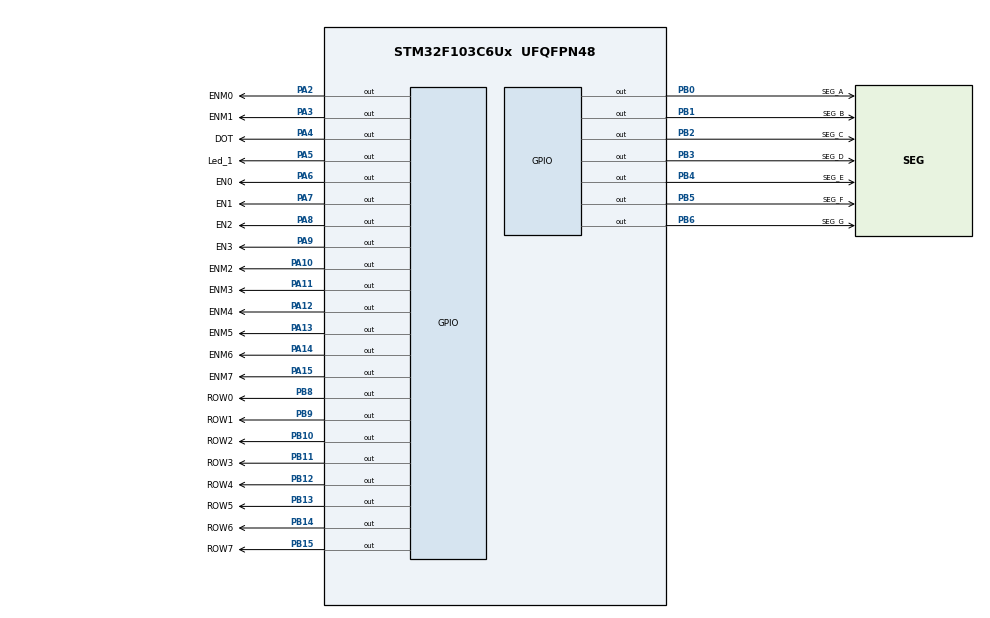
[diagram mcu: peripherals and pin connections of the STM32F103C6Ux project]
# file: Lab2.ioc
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Mcu.Family=STM32F1
Mcu.Name=STM32F103C6Ux
Mcu.Package=UFQFPN48
NVIC.PriorityGroup=NVIC_PRIORITYGROUP_4
NVIC.TIM2_IRQn=true\:0\:0\:false\:false\:true\:true\:true
PA10.GPIO_Label=ENM2
PA10.Signal=GPIO_Output
PA11.GPIO_Label=ENM3
PA11.Signal=GPIO_Output
PA12.GPIO_Label=ENM4
PA12.Signal=GPIO_Output
PA13.GPIO_Label=ENM5
PA13.Signal=GPIO_Output
PA14.GPIO_Label=ENM6
PA14.Signal=GPIO_Output
PA15.GPIO_Label=ENM7
PA15.Signal=GPIO_Output
PA2.GPIO_Label=ENM0
PA2.Signal=GPIO_Output
PA3.GPIO_Label=ENM1
PA3.Signal=GPIO_Output
PA4.GPIO_Label=DOT
PA4.Signal=GPIO_Output
PA5.GPIO_Label=Led_1
PA5.Signal=GPIO_Output
PA6.GPIO_Label=EN0
PA6.Signal=GPIO_Output
PA7.GPIO_Label=EN1
PA7.Signal=GPIO_Output
PA8.GPIO_Label=EN2
PA8.Signal=GPIO_Output
PA9.GPIO_Label=EN3
PA9.Signal=GPIO_Output
PB0.GPIO_Label=SEG_A
PB0.Signal=GPIO_Output
PB1.GPIO_Label=SEG_B
PB1.Signal=GPIO_Output
PB10.GPIO_Label=ROW2
PB10.Signal=GPIO_Output
PB11.GPIO_Label=ROW3
PB11.Signal=GPIO_Output
PB12.GPIO_Label=ROW4
PB12.Signal=GPIO_Output
PB13.GPIO_Label=ROW5
PB13.Signal=GPIO_Output
PB14.GPIO_Label=ROW6
PB14.Signal=GPIO_Output
PB15.GPIO_Label=ROW7
PB15.Signal=GPIO_Output
PB2.GPIO_Label=SEG_C
PB2.Signal=GPIO_Output
PB3.GPIO_Label=SEG_D
PB3.Signal=GPIO_Output
PB4.GPIO_Label=SEG_E
PB4.Signal=GPIO_Output
PB5.GPIO_Label=SEG_F
PB5.Signal=GPIO_Output
PB6.GPIO_Label=SEG_G
PB6.Signal=GPIO_Output
PB8.GPIO_Label=ROW0
PB8.Signal=GPIO_Output
PB9.GPIO_Label=ROW1
PB9.Signal=GPIO_Output
ProjectManager.HeapSize=0x200
ProjectManager.StackSize=0x400
ProjectManager.TargetToolchain=STM32CubeIDE
RCC.APB1Freq_Value=8000000
RCC.APB2Freq_Value=8000000
TIM2.Period=9
TIM2.Prescaler=7999
VP_SYS_VS_ND.Mode=No_Debug
VP_TIM2_VS_ClockSourceINT.Mode=Internal
board=custom

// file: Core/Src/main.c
/* USER CODE BEGIN Header */
/**
  ******************************************************************************
  * @file           : main.c
  * @brief          : Main program body
  ******************************************************************************
  * @attention
  *
  * <h2><center>&copy; Copyright (c) 2023 STMicroelectronics.
  * All rights reserved.</center></h2>
  *
  * This software component is licensed by ST under BSD 3-Clause license,
  * the "License"; You may not use this file except in compliance with the
  * License. You may obtain a copy of the License at:
  *                        opensource.org/licenses/BSD-3-Clause
  *
  ******************************************************************************
  */
/* USER CODE END Header */
#include "main.h"

/* USER CODE BEGIN Includes */
#include "software_timer.h"
/* USER CODE END Includes */

TIM_HandleTypeDef htim2;

void SystemClock_Config(void);
static void MX_GPIO_Init(void);
static void MX_TIM2_Init(void);

/* USER CODE BEGIN 0 */
void display7SEG (int counter){
	switch (counter){
		case 0:
			HAL_GPIO_WritePin ( GPIOB, GPIO_PIN_0 | GPIO_PIN_1 | GPIO_PIN_2 |
									   GPIO_PIN_3 | GPIO_PIN_4 | GPIO_PIN_5, GPIO_PIN_RESET );
			HAL_GPIO_WritePin ( GPIOB, GPIO_PIN_6, GPIO_PIN_SET);
			break;

		case 1:
			HAL_GPIO_WritePin ( GPIOB, GPIO_PIN_1 | GPIO_PIN_2, GPIO_PIN_RESET );
			HAL_GPIO_WritePin ( GPIOB, GPIO_PIN_0 | GPIO_PIN_3 | GPIO_PIN_4 |
										GPIO_PIN_5 | GPIO_PIN_6, GPIO_PIN_SET);
			break;

		case 2:
			HAL_GPIO_WritePin ( GPIOB , GPIO_PIN_0 | GPIO_PIN_1 | GPIO_PIN_3 |
										GPIO_PIN_4 | GPIO_PIN_6, GPIO_PIN_RESET );
			HAL_GPIO_WritePin ( GPIOB, GPIO_PIN_2 | GPIO_PIN_5, GPIO_PIN_SET);
			break;

		case 3:
			HAL_GPIO_WritePin ( GPIOB , GPIO_PIN_0 | GPIO_PIN_1 | GPIO_PIN_2 |
										GPIO_PIN_3 | GPIO_PIN_6, GPIO_PIN_RESET );
			HAL_GPIO_WritePin ( GPIOB, GPIO_PIN_4 | GPIO_PIN_5, GPIO_PIN_SET);
			break;

		case 4:
			HAL_GPIO_WritePin ( GPIOB , GPIO_PIN_1 | GPIO_PIN_2 | GPIO_PIN_5 |
										GPIO_PIN_6, GPIO_PIN_RESET );
			HAL_GPIO_WritePin ( GPIOB, GPIO_PIN_0 | GPIO_PIN_3 | GPIO_PIN_4, GPIO_PIN_SET);
			break;

		case 5:
			HAL_GPIO_WritePin ( GPIOB , GPIO_PIN_0 | GPIO_PIN_2 | GPIO_PIN_3 |
										GPIO_PIN_5 | GPIO_PIN_6, GPIO_PIN_RESET );
			HAL_GPIO_WritePin ( GPIOB, GPIO_PIN_1 | GPIO_PIN_4, GPIO_PIN_SET);
			break;

		case 6:
			HAL_GPIO_WritePin ( GPIOB , GPIO_PIN_0 | GPIO_PIN_2 | GPIO_PIN_3 |
										GPIO_PIN_4 | GPIO_PIN_5 | GPIO_PIN_6, GPIO_PIN_RESET );
			HAL_GPIO_WritePin ( GPIOB, GPIO_PIN_1, GPIO_PIN_SET);
			break;

		case 7:
			HAL_GPIO_WritePin ( GPIOB, GPIO_PIN_0 | GPIO_PIN_1 | GPIO_PIN_2, GPIO_PIN_RESET );
			HAL_GPIO_WritePin ( GPIOB, GPIO_PIN_3 | GPIO_PIN_4 | GPIO_PIN_5 |
									   GPIO_PIN_6, GPIO_PIN_SET);
			break;

		case 8:
			HAL_GPIO_WritePin ( GPIOB, GPIO_PIN_0 | GPIO_PIN_1 | GPIO_PIN_2 | GPIO_PIN_3 |
									   GPIO_PIN_4 | GPIO_PIN_5 | GPIO_PIN_6, GPIO_PIN_RESET );
			break;

		case 9:
			HAL_GPIO_WritePin ( GPIOB, GPIO_PIN_0 | GPIO_PIN_1 | GPIO_PIN_2 |
									   GPIO_PIN_3 | GPIO_PIN_5 | GPIO_PIN_6, GPIO_PIN_RESET );
			HAL_GPIO_WritePin ( GPIOB, GPIO_PIN_4, GPIO_PIN_SET);
			break;

		default:
			break;
	}
}

const int MAX_LED = 4;
int led_buffer[4] = {0 , 0 , 0 , 0};
int hour = 8 , minute = 8 , second = 50;
void update7SEG(int index){
	switch(index){
	case 0:
	// Display the first 7 SEG with led_buffer [0]
		HAL_GPIO_WritePin(GPIOA, GPIO_PIN_6, RESET);
		HAL_GPIO_WritePin(GPIOA, GPIO_PIN_7, SET);
		HAL_GPIO_WritePin(GPIOA, GPIO_PIN_8, SET);
		HAL_GPIO_WritePin(GPIOA, GPIO_PIN_9, SET);

		led_buffer[0] = (int) hour / 10;
		display7SEG(led_buffer[0]);
		break;

	case 1:
	// Display the second 7 SEG with led_buffer [1]
		HAL_GPIO_WritePin(GPIOA, GPIO_PIN_6, SET);
		HAL_GPIO_WritePin(GPIOA, GPIO_PIN_7, RESET);
		HAL_GPIO_WritePin(GPIOA, GPIO_PIN_8, SET);
		HAL_GPIO_WritePin(GPIOA, GPIO_PIN_9, SET);

		led_buffer[1] = hour % 10;
		display7SEG(led_buffer[1]);
		break;

	case 2:
	// Display the third 7 SEG with led_buffer [2]
		HAL_GPIO_WritePin(GPIOA, GPIO_PIN_6, SET);
		HAL_GPIO_WritePin(GPIOA, GPIO_PIN_7, SET);
		HAL_GPIO_WritePin(GPIOA, GPIO_PIN_8, RESET);
		HAL_GPIO_WritePin(GPIOA, GPIO_PIN_9, SET);

		led_buffer[2] = (int) minute / 10;
		display7SEG(led_buffer[2]);
		break;

	case 3:
	// Display the forth 7 SEG with led_buffer [3]
		HAL_GPIO_WritePin(GPIOA, GPIO_PIN_6, SET);
		HAL_GPIO_WritePin(GPIOA, GPIO_PIN_7, SET);
		HAL_GPIO_WritePin(GPIOA, GPIO_PIN_8, SET);
		HAL_GPIO_WritePin(GPIOA, GPIO_PIN_9, RESET);

		led_buffer[3] = minute % 10;
		display7SEG(led_buffer[3]);
		break;

	default:
		break;
	}
}

int count_frame = 0;
const int MAX_FRAME = 14;
//int count_row =0;
int count_col =0;

const int MAX_LED_MATRIX = 8;
int index_led_matrix = 0;
uint8_t matrix_buffer [8] = {0b00000000, 0b11111100, 0b00010010, 0b00010001, 0b00010001, 0b00010010, 0b11111100, 0b00000000 };
void displayLEDMtrix(uint8_t value)
{
	if (value & (1U << 0))
		HAL_GPIO_WritePin(ROW0_GPIO_Port, ROW0_Pin, GPIO_PIN_RESET);
	else
		HAL_GPIO_WritePin(ROW0_GPIO_Port, ROW0_Pin, GPIO_PIN_SET);

	if (value & (1U << 1))
		HAL_GPIO_WritePin(ROW1_GPIO_Port, ROW1_Pin, GPIO_PIN_RESET);
	else
		HAL_GPIO_WritePin(ROW1_GPIO_Port, ROW1_Pin, GPIO_PIN_SET);

	if (value & (1U << 2))
		HAL_GPIO_WritePin(ROW2_GPIO_Port, ROW2_Pin, GPIO_PIN_RESET);
	else
		HAL_GPIO_WritePin(ROW2_GPIO_Port, ROW2_Pin, GPIO_PIN_SET);

	if (value & (1U << 3))
		HAL_GPIO_WritePin(ROW3_GPIO_Port, ROW3_Pin, GPIO_PIN_RESET);
	else
		HAL_GPIO_WritePin(ROW3_GPIO_Port, ROW3_Pin, GPIO_PIN_SET);

	if (value & (1U << 4))
		HAL_GPIO_WritePin(ROW4_GPIO_Port, ROW4_Pin, GPIO_PIN_RESET);
	else
		HAL_GPIO_WritePin(ROW4_GPIO_Port, ROW4_Pin, GPIO_PIN_SET);

	if (value & (1U << 5))
		HAL_GPIO_WritePin(ROW5_GPIO_Port, ROW5_Pin, GPIO_PIN_RESET);
	else
		HAL_GPIO_WritePin(ROW5_GPIO_Port, ROW5_Pin, GPIO_PIN_SET);

	if (value & (1U << 6))
		HAL_GPIO_WritePin(ROW6_GPIO_Port, ROW6_Pin, GPIO_PIN_RESET);
	else
		HAL_GPIO_WritePin(ROW6_GPIO_Port, ROW6_Pin, GPIO_PIN_SET);

	if (value & (1U << 7))
		HAL_GPIO_WritePin(ROW7_GPIO_Port, ROW7_Pin, GPIO_PIN_RESET);
	else
		HAL_GPIO_WritePin(ROW7_GPIO_Port, ROW7_Pin, GPIO_PIN_SET);
}

void updateLEDMatrix(int index)
{
	switch (index)
	{
		case 0:
			HAL_GPIO_WritePin(ENM7_GPIO_Port, ENM7_Pin, GPIO_PIN_SET);
			HAL_GPIO_WritePin(ENM6_GPIO_Port, ENM6_Pin, GPIO_PIN_SET);
			HAL_GPIO_WritePin(ENM5_GPIO_Port, ENM5_Pin, GPIO_PIN_SET);
			HAL_GPIO_WritePin(ENM4_GPIO_Port, ENM4_Pin, GPIO_PIN_SET);
			HAL_GPIO_WritePin(ENM3_GPIO_Port, ENM3_Pin, GPIO_PIN_SET);
			HAL_GPIO_WritePin(ENM2_GPIO_Port, ENM2_Pin, GPIO_PIN_SET);
			HAL_GPIO_WritePin(ENM1_GPIO_Port, ENM1_Pin, GPIO_PIN_SET);
			HAL_GPIO_WritePin(ENM0_GPIO_Port, ENM0_Pin, GPIO_PIN_RESET);
			displayLEDMtrix(matrix_buffer[index]);
			break;
		case 1:
			HAL_GPIO_WritePin(ENM0_GPIO_Port, ENM0_Pin, GPIO_PIN_SET);
			HAL_GPIO_WritePin(ENM7_GPIO_Port, ENM7_Pin, GPIO_PIN_SET);
			HAL_GPIO_WritePin(ENM6_GPIO_Port, ENM6_Pin, GPIO_PIN_SET);
			HAL_GPIO_WritePin(ENM5_GPIO_Port, ENM5_Pin, GPIO_PIN_SET);
			HAL_GPIO_WritePin(ENM4_GPIO_Port, ENM4_Pin, GPIO_PIN_SET);
			HAL_GPIO_WritePin(ENM3_GPIO_Port, ENM3_Pin, GPIO_PIN_SET);
			HAL_GPIO_WritePin(ENM2_GPIO_Port, ENM2_Pin, GPIO_PIN_SET);
			HAL_GPIO_WritePin(ENM1_GPIO_Port, ENM1_Pin, GPIO_PIN_RESET);
			displayLEDMtrix(matrix_buffer[index]);
			break;
		case 2:
			HAL_GPIO_WritePin(ENM1_GPIO_Port, ENM1_Pin, GPIO_PIN_SET);
			HAL_GPIO_WritePin(ENM0_GPIO_Port, ENM0_Pin, GPIO_PIN_SET);
			HAL_GPIO_WritePin(ENM7_GPIO_Port, ENM7_Pin, GPIO_PIN_SET);
			HAL_GPIO_WritePin(ENM6_GPIO_Port, ENM6_Pin, GPIO_PIN_SET);
			HAL_GPIO_WritePin(ENM5_GPIO_Port, ENM5_Pin, GPIO_PIN_SET);
			HAL_GPIO_WritePin(ENM4_GPIO_Port, ENM4_Pin, GPIO_PIN_SET);
			HAL_GPIO_WritePin(ENM3_GPIO_Port, ENM3_Pin, GPIO_PIN_SET);
			HAL_GPIO_WritePin(ENM2_GPIO_Port, ENM2_Pin, GPIO_PIN_RESET);
			displayLEDMtrix(matrix_buffer[index]);
			break;
		case 3:
			HAL_GPIO_WritePin(ENM2_GPIO_Port, ENM2_Pin, GPIO_PIN_SET);
			HAL_GPIO_WritePin(ENM1_GPIO_Port, ENM1_Pin, GPIO_PIN_SET);
			HAL_GPIO_WritePin(ENM0_GPIO_Port, ENM0_Pin, GPIO_PIN_SET);
			HAL_GPIO_WritePin(ENM7_GPIO_Port, ENM7_Pin, GPIO_PIN_SET);
			HAL_GPIO_WritePin(ENM6_GPIO_Port, ENM6_Pin, GPIO_PIN_SET);
			HAL_GPIO_WritePin(ENM5_GPIO_Port, ENM5_Pin, GPIO_PIN_SET);
			HAL_GPIO_WritePin(ENM4_GPIO_Port, ENM4_Pin, GPIO_PIN_SET);
			HAL_GPIO_WritePin(ENM3_GPIO_Port, ENM3_Pin, GPIO_PIN_RESET);
			displayLEDMtrix(matrix_buffer[index]);
			break;
		case 4:
			HAL_GPIO_WritePin(ENM3_GPIO_Port, ENM3_Pin, GPIO_PIN_SET);
			HAL_GPIO_WritePin(ENM2_GPIO_Port, ENM2_Pin, GPIO_PIN_SET);
			HAL_GPIO_WritePin(ENM1_GPIO_Port, ENM1_Pin, GPIO_PIN_SET);
			HAL_GPIO_WritePin(ENM0_GPIO_Port, ENM0_Pin, GPIO_PIN_SET);
			HAL_GPIO_WritePin(ENM7_GPIO_Port, ENM7_Pin, GPIO_PIN_SET);
			HAL_GPIO_WritePin(ENM6_GPIO_Port, ENM6_Pin, GPIO_PIN_SET);
			HAL_GPIO_WritePin(ENM5_GPIO_Port, ENM5_Pin, GPIO_PIN_SET);
			HAL_GPIO_WritePin(ENM4_GPIO_Port, ENM4_Pin, GPIO_PIN_RESET);
			displayLEDMtrix(matrix_buffer[index]);
			break;
		case 5:
			HAL_GPIO_WritePin(ENM4_GPIO_Port, ENM4_Pin, GPIO_PIN_SET);
			HAL_GPIO_WritePin(ENM3_GPIO_Port, ENM3_Pin, GPIO_PIN_SET);
			HAL_GPIO_WritePin(ENM2_GPIO_Port, ENM2_Pin, GPIO_PIN_SET);
			HAL_GPIO_WritePin(ENM1_GPIO_Port, ENM1_Pin, GPIO_PIN_SET);
			HAL_GPIO_WritePin(ENM0_GPIO_Port, ENM0_Pin, GPIO_PIN_SET);
			HAL_GPIO_WritePin(ENM7_GPIO_Port, ENM7_Pin, GPIO_PIN_SET);
			HAL_GPIO_WritePin(ENM6_GPIO_Port, ENM6_Pin, GPIO_PIN_SET);
			HAL_GPIO_WritePin(ENM5_GPIO_Port, ENM5_Pin, GPIO_PIN_RESET);
			displayLEDMtrix(matrix_buffer[index]);
			break;
		case 6:
			HAL_GPIO_WritePin(ENM5_GPIO_Port, ENM5_Pin, GPIO_PIN_SET);
			HAL_GPIO_WritePin(ENM4_GPIO_Port, ENM4_Pin, GPIO_PIN_SET);
			HAL_GPIO_WritePin(ENM3_GPIO_Port, ENM3_Pin, GPIO_PIN_SET);
			HAL_GPIO_WritePin(ENM2_GPIO_Port, ENM2_Pin, GPIO_PIN_SET);
			HAL_GPIO_WritePin(ENM1_GPIO_Port, ENM1_Pin, GPIO_PIN_SET);
			HAL_GPIO_WritePin(ENM0_GPIO_Port, ENM0_Pin, GPIO_PIN_SET);
			HAL_GPIO_WritePin(ENM7_GPIO_Port, ENM7_Pin, GPIO_PIN_SET);
			HAL_GPIO_WritePin(ENM6_GPIO_Port, ENM6_Pin, GPIO_PIN_RESET);
			displayLEDMtrix(matrix_buffer[index]);
			break;
		case 7:
			HAL_GPIO_WritePin(ENM6_GPIO_Port, ENM6_Pin, GPIO_PIN_SET);
			HAL_GPIO_WritePin(ENM5_GPIO_Port, ENM5_Pin, GPIO_PIN_SET);
			HAL_GPIO_WritePin(ENM4_GPIO_Port, ENM4_Pin, GPIO_PIN_SET);
			HAL_GPIO_WritePin(ENM3_GPIO_Port, ENM3_Pin, GPIO_PIN_SET);
			HAL_GPIO_WritePin(ENM2_GPIO_Port, ENM2_Pin, GPIO_PIN_SET);
			HAL_GPIO_WritePin(ENM1_GPIO_Port, ENM1_Pin, GPIO_PIN_SET);
			HAL_GPIO_WritePin(ENM0_GPIO_Port, ENM0_Pin, GPIO_PIN_SET);
			HAL_GPIO_WritePin(ENM7_GPIO_Port, ENM7_Pin, GPIO_PIN_RESET);
			displayLEDMtrix(matrix_buffer[index]);
			break;
		default:
			break;
	}
}

/* USER CODE END 0 */

int main(void)
{

  /* MCU Configuration--------------------------------------------------------*/

  /* Reset of all peripherals, Initializes the Flash interface and the Systick. */
  HAL_Init();

  /* Configure the system clock */
  SystemClock_Config();

  /* Initialize all configured peripherals */
  MX_GPIO_Init();
  MX_TIM2_Init();
  /* USER CODE BEGIN 2 */
  HAL_TIM_Base_Start_IT(&htim2);
  /* USER CODE END 2 */

  /* Infinite loop */
  /* USER CODE BEGIN WHILE */
  int index_led = 0;
  setTimer1(50);
  setTimer2(200);
  setTimer3(100);
  setTimer4(50);
  setTimer_m(100);

  while(1){
	  if (timer1_flag == 1){
		  setTimer1(25);
		  // TO DO
		  second ++;
		  if (second >= 60){
			 second = 0;
			 minute ++;
		  }
		  if (minute >= 60){
			  minute = 0;
			  hour ++;
		  }
		  if (hour >=24){
			  hour = 0;
		  }
	  }

	  // Clock visualization
	  if (timer2_flag == 1){
		  setTimer2(200);
		  // TO DO
		  HAL_GPIO_TogglePin(GPIOA, GPIO_PIN_5);
	  }

	  if (timer3_flag == 1){
		  setTimer3(100);
		  // TO DO
		  HAL_GPIO_TogglePin(GPIOA, GPIO_PIN_4);
	  }

	  if (timer4_flag == 1){
		  setTimer4(50);
		  // TO DO
		  update7SEG(index_led);
		  if (index_led <= 3){
			  index_led ++;
			  if (index_led > 3){
				  index_led = 0;
			  }
		  }
	  }

	  if(timer_m_flag == 1){
		  index_led_matrix ++;
		  count_col ++;
		  if(index_led_matrix >= MAX_LED_MATRIX){
			  index_led_matrix = 0;
		  }

		  if(count_col >= MAX_LED_MATRIX){
			  count_col = 0;
			  count_frame++;
		  }

		  if(count_frame >= MAX_FRAME)
			  count_frame =0;
		  //update_frame();
		  updateLEDMatrix(index_led_matrix);
		  setTimer_m(5);
	  }
  }

	  /* USER CODE END 3 */
}
  /* USER CODE END 3 */

void SystemClock_Config(void)
{
  RCC_OscInitTypeDef RCC_OscInitStruct = {0};
  RCC_ClkInitTypeDef RCC_ClkInitStruct = {0};

  /** Initializes the RCC Oscillators according to the specified parameters
  * in the RCC_OscInitTypeDef structure.
  */
  RCC_OscInitStruct.OscillatorType = RCC_OSCILLATORTYPE_HSI;
  RCC_OscInitStruct.HSIState = RCC_HSI_ON;
  RCC_OscInitStruct.HSICalibrationValue = RCC_HSICALIBRATION_DEFAULT;
  RCC_OscInitStruct.PLL.PLLState = RCC_PLL_NONE;
  if (HAL_RCC_OscConfig(&RCC_OscInitStruct) != HAL_OK)
  {
    Error_Handler();
  }
  /** Initializes the CPU, AHB and APB buses clocks
  */
  RCC_ClkInitStruct.ClockType = RCC_CLOCKTYPE_HCLK|RCC_CLOCKTYPE_SYSCLK
                              |RCC_CLOCKTYPE_PCLK1|RCC_CLOCKTYPE_PCLK2;
  RCC_ClkInitStruct.SYSCLKSource = RCC_SYSCLKSOURCE_HSI;
  RCC_ClkInitStruct.AHBCLKDivider = RCC_SYSCLK_DIV1;
  RCC_ClkInitStruct.APB1CLKDivider = RCC_HCLK_DIV1;
  RCC_ClkInitStruct.APB2CLKDivider = RCC_HCLK_DIV1;

  if (HAL_RCC_ClockConfig(&RCC_ClkInitStruct, FLASH_LATENCY_0) != HAL_OK)
  {
    Error_Handler();
  }
}

static void MX_TIM2_Init(void)
{

  TIM_ClockConfigTypeDef sClockSourceConfig = {0};
  TIM_MasterConfigTypeDef sMasterConfig = {0};

  htim2.Instance = TIM2;
  htim2.Init.Prescaler = 7999;
  htim2.Init.CounterMode = TIM_COUNTERMODE_UP;
  htim2.Init.Period = 9;
  htim2.Init.ClockDivision = TIM_CLOCKDIVISION_DIV1;
  htim2.Init.AutoReloadPreload = TIM_AUTORELOAD_PRELOAD_DISABLE;
  if (HAL_TIM_Base_Init(&htim2) != HAL_OK)
  {
    Error_Handler();
  }
  sClockSourceConfig.ClockSource = TIM_CLOCKSOURCE_INTERNAL;
  if (HAL_TIM_ConfigClockSource(&htim2, &sClockSourceConfig) != HAL_OK)
  {
    Error_Handler();
  }
  sMasterConfig.MasterOutputTrigger = TIM_TRGO_RESET;
  sMasterConfig.MasterSlaveMode = TIM_MASTERSLAVEMODE_DISABLE;
  if (HAL_TIMEx_MasterConfigSynchronization(&htim2, &sMasterConfig) != HAL_OK)
  {
    Error_Handler();
  }

}

static void MX_GPIO_Init(void)
{
  GPIO_InitTypeDef GPIO_InitStruct = {0};

  /* GPIO Ports Clock Enable */
  __HAL_RCC_GPIOA_CLK_ENABLE();
  __HAL_RCC_GPIOB_CLK_ENABLE();

  /*Configure GPIO pin Output Level */
  HAL_GPIO_WritePin(GPIOA, ENM0_Pin|ENM1_Pin|DOT_Pin|Led_1_Pin
                          |EN0_Pin|EN1_Pin|EN2_Pin|EN3_Pin
                          |ENM2_Pin|ENM3_Pin|ENM4_Pin|ENM5_Pin
                          |ENM6_Pin|ENM7_Pin, GPIO_PIN_RESET);

  /*Configure GPIO pin Output Level */
  HAL_GPIO_WritePin(GPIOB, SEG_A_Pin|SEG_B_Pin|SEG_C_Pin|ROW2_Pin
                          |ROW3_Pin|ROW4_Pin|ROW5_Pin|ROW6_Pin
                          |ROW7_Pin|SEG_D_Pin|SEG_E_Pin|SEG_F_Pin
                          |SEG_G_Pin|ROW0_Pin|ROW1_Pin, GPIO_PIN_RESET);

  /*Configure GPIO pins : ENM0_Pin ENM1_Pin DOT_Pin Led_1_Pin
                           EN0_Pin EN1_Pin EN2_Pin EN3_Pin
                           ENM2_Pin ENM3_Pin ENM4_Pin ENM5_Pin
                           ENM6_Pin ENM7_Pin */
  GPIO_InitStruct.Pin = ENM0_Pin|ENM1_Pin|DOT_Pin|Led_1_Pin
                          |EN0_Pin|EN1_Pin|EN2_Pin|EN3_Pin
                          |ENM2_Pin|ENM3_Pin|ENM4_Pin|ENM5_Pin
                          |ENM6_Pin|ENM7_Pin;
  GPIO_InitStruct.Mode = GPIO_MODE_OUTPUT_PP;
  GPIO_InitStruct.Pull = GPIO_NOPULL;
  GPIO_InitStruct.Speed = GPIO_SPEED_FREQ_LOW;
  HAL_GPIO_Init(GPIOA, &GPIO_InitStruct);

  /*Configure GPIO pins : SEG_A_Pin SEG_B_Pin SEG_C_Pin ROW2_Pin
                           ROW3_Pin ROW4_Pin ROW5_Pin ROW6_Pin
                           ROW7_Pin SEG_D_Pin SEG_E_Pin SEG_F_Pin
                           SEG_G_Pin ROW0_Pin ROW1_Pin */
  GPIO_InitStruct.Pin = SEG_A_Pin|SEG_B_Pin|SEG_C_Pin|ROW2_Pin
                          |ROW3_Pin|ROW4_Pin|ROW5_Pin|ROW6_Pin
                          |ROW7_Pin|SEG_D_Pin|SEG_E_Pin|SEG_F_Pin
                          |SEG_G_Pin|ROW0_Pin|ROW1_Pin;
  GPIO_InitStruct.Mode = GPIO_MODE_OUTPUT_PP;
  GPIO_InitStruct.Pull = GPIO_NOPULL;
  GPIO_InitStruct.Speed = GPIO_SPEED_FREQ_LOW;
  HAL_GPIO_Init(GPIOB, &GPIO_InitStruct);

}

/* USER CODE BEGIN 4 */
void HAL_TIM_PeriodElapsedCallback(TIM_HandleTypeDef *htim){
	timerRun();
}
/* USER CODE END 4 */

void Error_Handler(void)
{
  __disable_irq();
  while (1)
  {
  }
}

/************************ (C) COPYRIGHT STMicroelectronics *****END OF FILE****/
